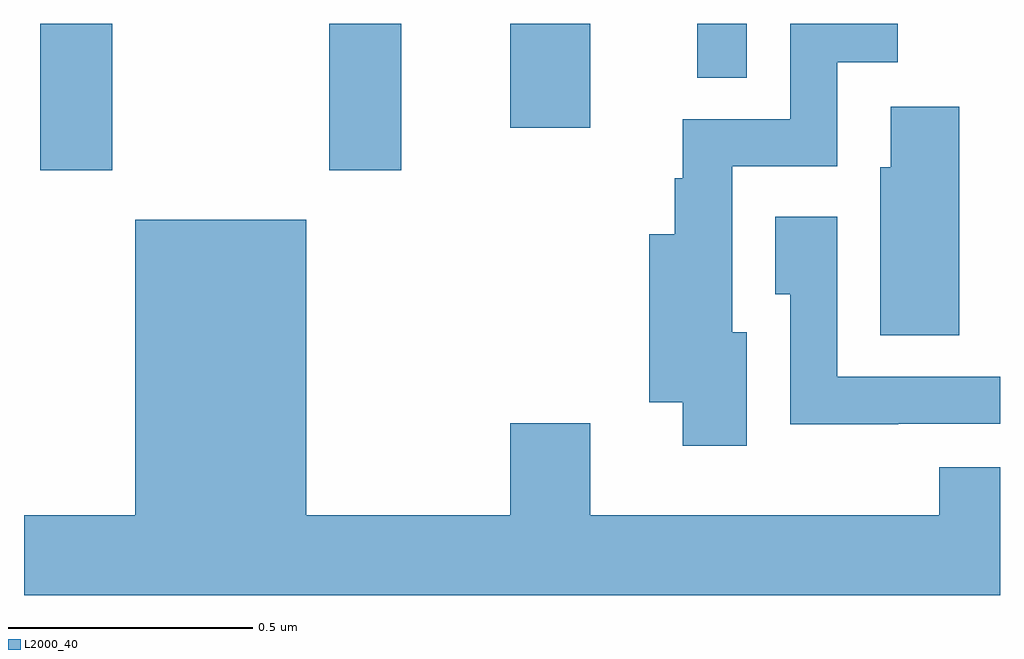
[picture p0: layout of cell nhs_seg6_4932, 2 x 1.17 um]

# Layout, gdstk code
import gdstk
lib = gdstk.Library(unit=1e-6, precision=1e-09)
def R(c, l, rs):  # rectangles x0, y0, x1, y1
    for r in rs: c.add(gdstk.rectangle(r[:2], r[2:], *l))
def P(c, l, *ps):  # polygons
    for p in ps: c.add(gdstk.Polygon(p, *l))
L2000_40 = (2000, 40)

nhs_seg6_4932 = lib.new_cell('nhs_seg6_4932')
R(nhs_seg6_4932, L2000_40, [(176.033,956.199,176.181,956.5), (176.626,956.199,176.773,956.5), (176.996,956.286,177.16,956.5), (177.38,956.389,177.481,956.5)])
P(nhs_seg6_4932, L2000_40, [(177.481,955.867),(177.451,955.867),(177.451,956.208),(177.666,956.208),(177.666,956.421),(177.79,956.421),(177.79,956.5),(177.57,956.5),(177.57,956.304),(177.35,956.304),(177.35,956.183),(177.333,956.183),(177.333,956.068),(177.281,956.068),(177.281,955.724),(177.35,955.724),(177.35,955.635),(177.481,955.635)],
  [(177.916,956.329),(177.776,956.329),(177.776,956.205),(177.755,956.205),(177.755,955.861),(177.916,955.861)],
  [(177.791,955.68),(178,955.68),(178,955.776),(177.666,955.776),(177.666,956.104),(177.539,956.104),(177.539,955.945),(177.57,955.945),(177.57,955.679),(177.791,955.679)],
  [(178,955.591),(177.875,955.591),(177.875,955.492),(177.16,955.492),(177.16,955.681),(176.996,955.681),(176.996,955.492),(176.578,955.492),(176.578,956.098),(176.228,956.098),(176.228,955.492),(176,955.492),(176,955.328),(178,955.328)])

lib.write_gds('nhs_seg6_4932.gds')
